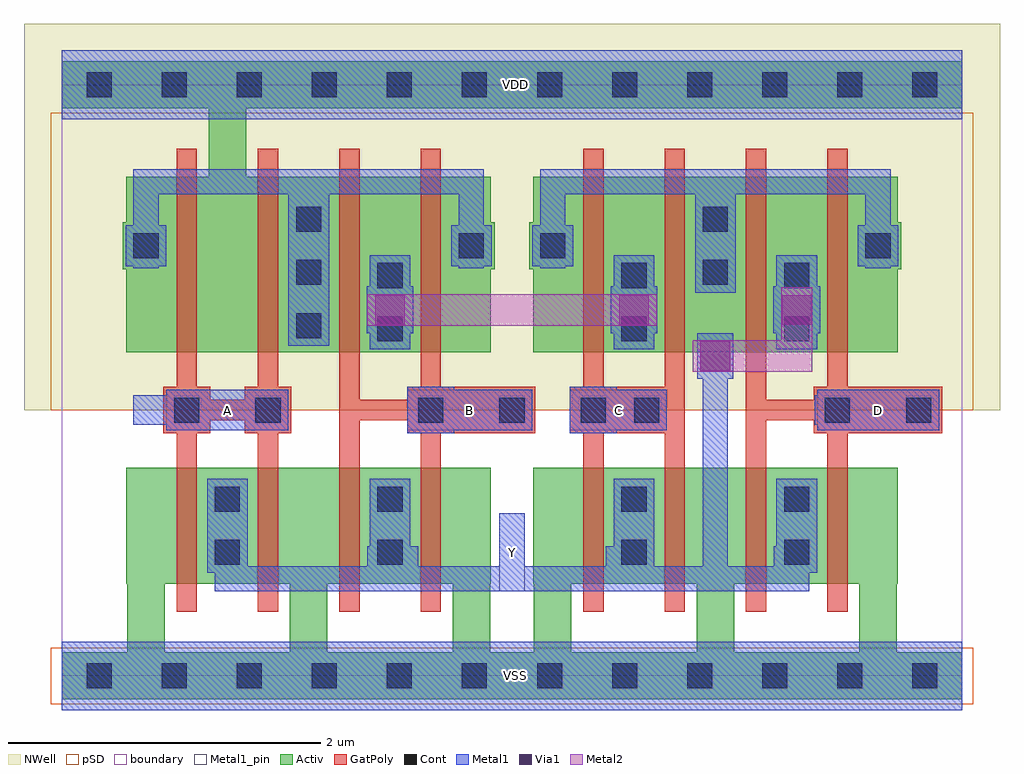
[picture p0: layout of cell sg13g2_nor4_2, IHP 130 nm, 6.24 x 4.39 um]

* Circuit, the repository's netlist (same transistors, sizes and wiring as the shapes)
.SUBCKT sg13g2_nor4_2 Y A B C D VDD VSS
*.PININFO A:I B:I C:I D:I Y:O VDD:B VSS:B
MP0 net3 A VDD VDD sg13_lv_pmos w=2.24u l=130.00n ng=2
MP1 net2 B net3 VDD sg13_lv_pmos w=2.24u l=130.00n ng=2
MP2 net1 C net2 VDD sg13_lv_pmos w=2.24u l=130.00n ng=2
MP3 Y D net1 VDD sg13_lv_pmos w=2.24u l=130.00n ng=2
MN0 Y A VSS VSS sg13_lv_nmos w=1.48u l=130.00n ng=2
MN3 Y D VSS VSS sg13_lv_nmos w=1.48u l=130.00n ng=2
MN1 Y B VSS VSS sg13_lv_nmos w=1.48u l=130.00n ng=2
MN2 Y C VSS VSS sg13_lv_nmos w=1.48u l=130.00n ng=2
.ENDS

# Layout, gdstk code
import gdstk
lib = gdstk.Library(unit=1e-6, precision=1e-09)
def R(c, l, rs):  # rectangles x0, y0, x1, y1
    for r in rs: c.add(gdstk.rectangle(r[:2], r[2:], *l))
def A(c, l, x, y, w, h, nx, ny, dx, dy):  # array of equal rectangles
    R(c, l, [(x+i*dx, y+j*dy, x+i*dx+w, y+j*dy+h) for i in range(nx) for j in range(ny)])
def P(c, l, *ps):  # polygons
    for p in ps: c.add(gdstk.Polygon(p, *l))
Activ = (1, 0)
GatPoly = (5, 0)
Cont = (6, 0)
Metal1 = (8, 0)
Metal1_pin = (8, 2)
Metal2 = (10, 0)
pSD = (14, 0)
Via1 = (19, 0)
NWell = (31, 0)
boundary = (189, 4)

sg13g2_nor4_2 = lib.new_cell('sg13g2_nor4_2')
P(sg13g2_nor4_2, Activ, [(3.26,0.59),(3.26,1.33),(3.015,1.33),(3.015,0.59),(3.02,0.59),(3.02,0.15),(2.74,0.15),(2.74,0.59),(2.745,0.59),(2.745,1.33),(1.7,1.33),(1.7,0.59),(1.7,1.33),(0.66,1.33),(0.66,0.59),(0.66,1.33),(0.415,1.33),(0.415,0.59),(0.42,0.59),(0.42,0.15),(0,0.15),(0,-0.15),(0.66,-0.15),(0.66,0.59),(1.46,0.59),(1.46,0.15),(0.66,0.15),(0.66,-0.15),(1.7,-0.15),(1.7,0.59),(2.5,0.59),(2.5,0.15),(1.7,0.15),(1.7,-0.15),(3.26,-0.15),(5.76,-0.15),(5.76,0.15),(3.26,0.15),(3.26,-0.15),(3.26,0.59),(4.06,0.59),(4.06,0.15),(4.3,0.15),(4.3,0.59),(5.1,0.59),(5.1,0.15),(5.34,0.15),(5.34,0.59),(5.345,0.59),(5.345,1.33),(3.26,1.33)],
  [(0,3.63),(0.94,3.63),(0.94,3.19),(0.415,3.19),(0.415,2.9),(0.39,2.9),(0.39,2.6),(0.415,2.6),(0.415,2.07),(2.745,2.07),(2.745,2.6),(2.77,2.6),(2.77,2.9),(2.745,2.9),(2.745,3.19),(1.18,3.19),(1.18,3.63),(5.76,3.63),(5.76,3.93),(0,3.93)],
  [(2.99,2.6),(3.015,2.6),(3.015,2.07),(5.345,2.07),(5.345,2.6),(5.37,2.6),(5.37,2.9),(5.345,2.9),(5.345,3.19),(3.015,3.19),(3.015,2.9),(2.99,2.9)])
P(sg13g2_nor4_2, GatPoly, [(0.65,1.55),(0.735,1.55),(0.735,0.41),(0.865,0.41),(0.865,1.55),(0.95,1.55),(0.95,1.635),(1.17,1.635),(1.17,1.55),(1.255,1.55),(1.255,0.41),(1.385,0.41),(1.385,1.55),(1.47,1.55),(1.47,1.85),(1.385,1.85),(1.385,3.37),(1.255,3.37),(1.255,1.85),(1.17,1.85),(1.17,1.765),(0.95,1.765),(0.95,1.85),(0.865,1.85),(0.865,3.37),(0.735,3.37),(0.735,1.85),(0.65,1.85)],
  [(1.775,0.41),(1.905,0.41),(1.905,1.635),(2.21,1.635),(2.21,1.55),(2.295,1.55),(2.295,0.41),(2.425,0.41),(2.425,1.55),(3.03,1.55),(3.03,1.85),(2.425,1.85),(2.425,3.37),(2.295,3.37),(2.295,1.85),(2.21,1.85),(2.21,1.765),(1.905,1.765),(1.905,3.37),(1.775,3.37)],
  [(3.25,1.55),(3.335,1.55),(3.335,0.41),(3.465,0.41),(3.465,1.55),(3.855,1.55),(3.855,0.41),(3.985,0.41),(3.985,3.37),(3.855,3.37),(3.855,1.85),(3.465,1.85),(3.465,3.37),(3.335,3.37),(3.335,1.85),(3.25,1.85)],
  [(4.375,0.41),(4.505,0.41),(4.505,1.635),(4.81,1.635),(4.81,1.55),(4.895,1.55),(4.895,0.41),(5.025,0.41),(5.025,1.55),(5.63,1.55),(5.63,1.85),(5.025,1.85),(5.025,3.37),(4.895,3.37),(4.895,1.85),(4.81,1.85),(4.81,1.765),(4.505,1.765),(4.505,3.37),(4.375,3.37)])
A(sg13g2_nor4_2, Cont, 0.16, -0.08, 0.16, 0.16, 12, 2, 0.48, 3.78)
A(sg13g2_nor4_2, Cont, 2.28, 1.62, 0.16, 0.16, 3, 1, 0.52, 0)
A(sg13g2_nor4_2, Cont, 1.5, 2.16, 0.16, 0.16, 1, 3, 0, 0.34)
R(sg13g2_nor4_2, Cont, [(0.98,0.71,1.14,0.87), (2.02,0.71,2.18,0.87), (3.58,0.71,3.74,0.87), (4.62,0.71,4.78,0.87), (0.98,1.05,1.14,1.21), (2.02,1.05,2.18,1.21), (3.58,1.05,3.74,1.21), (4.62,1.05,4.78,1.21), (0.72,1.62,0.88,1.78), (1.24,1.62,1.4,1.78), (3.66,1.62,3.82,1.78), (4.88,1.62,5.04,1.78), (5.4,1.62,5.56,1.78), (2.02,2.14,2.18,2.3), (3.58,2.14,3.74,2.3), (4.62,2.14,4.78,2.3), (2.02,2.48,2.18,2.64), (3.58,2.48,3.74,2.64), (4.62,2.48,4.78,2.64), (4.1,2.5,4.26,2.66), (0.46,2.67,0.62,2.83), (2.54,2.67,2.7,2.83), (3.06,2.67,3.22,2.83), (5.14,2.67,5.3,2.83), (4.1,2.84,4.26,3)])
R(sg13g2_nor4_2, Metal1, [(0,-0.22,5.76,0.22), (0,3.56,5.76,4)])
P(sg13g2_nor4_2, Metal1, [(0.41,2.62),(0.46,2.62),(0.46,2.605),(0.62,2.605),(0.62,2.62),(0.67,2.62),(0.67,2.88),(0.62,2.88),(0.62,3.08),(1.45,3.08),(1.45,2.11),(1.71,2.11),(1.71,3.08),(2.54,3.08),(2.54,2.88),(2.49,2.88),(2.49,2.62),(2.54,2.62),(2.54,2.605),(2.7,2.605),(2.7,2.62),(2.75,2.62),(2.75,2.88),(2.7,2.88),(2.7,3.24),(0.46,3.24),(0.46,2.88),(0.41,2.88)],
  [(0.46,1.605),(0.67,1.605),(0.67,1.57),(1.45,1.57),(1.45,1.83),(0.67,1.83),(0.67,1.795),(0.46,1.795)],
  [(0.93,0.66),(0.98,0.66),(0.98,0.54),(4.78,0.54),(4.78,0.66),(4.83,0.66),(4.83,1.26),(4.57,1.26),(4.57,0.83),(4.555,0.83),(4.555,0.7),(4.26,0.7),(4.26,1.9),(4.295,1.9),(4.295,2.19),(4.065,2.19),(4.065,1.9),(4.1,1.9),(4.1,0.7),(3.79,0.7),(3.79,1.26),(3.53,1.26),(3.53,0.83),(3.48,0.83),(3.48,0.7),(2.96,0.7),(2.96,1.04),(2.8,1.04),(2.8,0.7),(2.28,0.7),(2.28,0.83),(2.23,0.83),(2.23,1.26),(1.97,1.26),(1.97,0.83),(1.955,0.83),(1.955,0.7),(1.19,0.7),(1.19,1.26),(0.93,1.26)],
  [(1.95,2.19),(1.97,2.19),(1.97,2.09),(2.23,2.09),(2.23,2.19),(2.25,2.19),(2.25,2.49),(2.23,2.49),(2.23,2.69),(1.97,2.69),(1.97,2.49),(1.95,2.49)],
  [(2.21,1.55),(2.51,1.55),(2.51,1.57),(3.01,1.57),(3.01,1.83),(2.51,1.83),(2.51,1.85),(2.21,1.85)],
  [(3.01,2.62),(3.06,2.62),(3.06,2.605),(3.22,2.605),(3.22,2.62),(3.27,2.62),(3.27,2.88),(3.22,2.88),(3.22,3.08),(4.05,3.08),(4.05,2.45),(4.31,2.45),(4.31,3.08),(5.14,3.08),(5.14,2.88),(5.09,2.88),(5.09,2.62),(5.14,2.62),(5.14,2.605),(5.3,2.605),(5.3,2.62),(5.35,2.62),(5.35,2.88),(5.3,2.88),(5.3,3.24),(3.06,3.24),(3.06,2.88),(3.01,2.88)],
  [(3.25,1.55),(3.55,1.55),(3.55,1.57),(3.87,1.57),(3.87,1.83),(3.55,1.83),(3.55,1.85),(3.25,1.85)],
  [(3.51,2.19),(3.53,2.19),(3.53,2.09),(3.79,2.09),(3.79,2.19),(3.81,2.19),(3.81,2.49),(3.79,2.49),(3.79,2.69),(3.53,2.69),(3.53,2.49),(3.51,2.49)],
  [(4.55,2.19),(4.57,2.19),(4.57,2.09),(4.83,2.09),(4.83,2.19),(4.85,2.19),(4.85,2.49),(4.83,2.49),(4.83,2.69),(4.57,2.69),(4.57,2.49),(4.55,2.49)],
  [(4.815,1.605),(4.83,1.605),(4.83,1.57),(5.61,1.57),(5.61,1.83),(4.83,1.83),(4.83,1.795),(4.815,1.795)])
R(sg13g2_nor4_2, Metal1_pin, [(0,-0.22,5.76,0.22), (2.8,0.54,2.96,1.04), (0.67,1.57,1.45,1.83), (2.21,1.57,3.01,1.83), (3.25,1.57,3.87,1.83), (4.83,1.57,5.61,1.83), (0,3.56,5.76,4)])
R(sg13g2_nor4_2, Metal2, [(1.955,2.24,3.805,2.44)])
P(sg13g2_nor4_2, Metal2, [(4.035,1.945),(4.8,1.945),(4.8,2.485),(4.6,2.485),(4.6,2.145),(4.035,2.145)])
R(sg13g2_nor4_2, pSD, [(-0.07,-0.18,5.83,0.18), (-0.07,1.7,5.83,3.6)])
R(sg13g2_nor4_2, Via1, [(4.085,1.95,4.275,2.14), (2.005,2.245,2.195,2.435), (3.565,2.245,3.755,2.435), (4.605,2.245,4.795,2.435)])
R(sg13g2_nor4_2, NWell, [(-0.24,1.7,6,4.17)])
R(sg13g2_nor4_2, boundary, [(0,0,5.76,3.78)])
sg13g2_nor4_2.add(gdstk.Label('A', (1.06,1.7), layer=8, texttype=25))
sg13g2_nor4_2.add(gdstk.Label('Y', (2.88,0.79), layer=8, texttype=25))
sg13g2_nor4_2.add(gdstk.Label('B', (2.61,1.7), layer=8, texttype=25))
sg13g2_nor4_2.add(gdstk.Label('C', (3.56,1.7), layer=8, texttype=25))
sg13g2_nor4_2.add(gdstk.Label('D', (5.22,1.7), layer=8, texttype=25))
sg13g2_nor4_2.add(gdstk.Label('VSS', (2.9,0), layer=8, texttype=25))
sg13g2_nor4_2.add(gdstk.Label('VDD', (2.9,3.78), layer=8, texttype=25))

lib.write_gds('sg13g2_nor4_2.gds')
